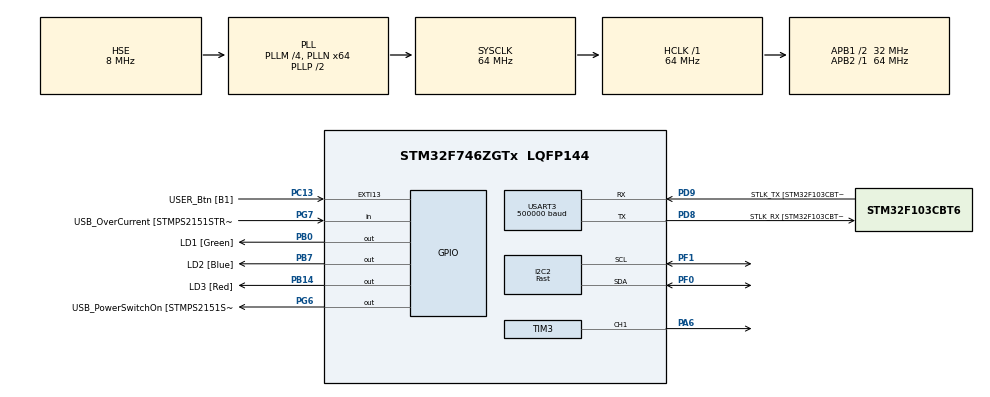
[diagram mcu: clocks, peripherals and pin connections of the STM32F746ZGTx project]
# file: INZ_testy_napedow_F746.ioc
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I2C2.I2C_Speed_Mode=I2C_Fast
I2C2.Timing=0x00300F38
Mcu.Family=STM32F7
Mcu.Name=STM32F746ZGTx
Mcu.Package=LQFP144
NVIC.PriorityGroup=NVIC_PRIORITYGROUP_4
NVIC.TIM2_IRQn=true\:0\:0\:false\:false\:true\:true\:true\:true
NVIC.USART3_IRQn=true\:0\:0\:false\:false\:true\:true\:true\:true
PA1.GPIO_Label=RMII_REF_CLK [LAN8742A-CZ-TR_REFCLK0]
PA1.Signal=ETH_REF_CLK
PA10.GPIO_Label=USB_ID
PA10.Signal=USB_OTG_FS_ID
PA11.GPIO_Label=USB_DM
PA11.Signal=USB_OTG_FS_DM
PA12.GPIO_Label=USB_DP
PA12.Signal=USB_OTG_FS_DP
PA13.GPIO_Label=TMS
PA13.Mode=Serial_Wire
PA13.Signal=SYS_JTMS-SWDIO
PA14.GPIO_Label=TCK
PA14.Mode=Serial_Wire
PA14.Signal=SYS_JTCK-SWCLK
PA2.GPIO_Label=RMII_MDIO [LAN8742A-CZ-TR_MDIO]
PA2.Signal=ETH_MDIO
PA6.Signal=S_TIM3_CH1
PA7.GPIO_Label=RMII_CRS_DV [LAN8742A-CZ-TR_CRS_DV]
PA7.Signal=ETH_CRS_DV
PA8.GPIO_Label=USB_SOF [TP1]
PA8.Signal=USB_OTG_FS_SOF
PA9.GPIO_Label=USB_VBUS
PA9.Signal=USB_OTG_FS_VBUS
PB0.GPIO_Label=LD1 [Green]
PB0.Signal=GPIO_Output
PB13.GPIO_Label=RMII_TXD1 [LAN8742A-CZ-TR_TXD1]
PB13.Signal=ETH_TXD1
PB14.GPIO_Label=LD3 [Red]
PB14.Signal=GPIO_Output
PB3.GPIO_Label=SW0
PB3.Signal=SYS_JTDO-SWO
PB7.GPIO_Label=LD2 [Blue]
PB7.Signal=GPIO_Output
PC1.GPIO_Label=RMII_MDC [LAN8742A-CZ-TR_MDC]
PC1.Signal=ETH_MDC
PC13.GPIO_Label=USER_Btn [B1]
PC13.Signal=GPXTI13
PC14/OSC32_IN.Mode=LSE-External-Oscillator
PC14/OSC32_IN.Signal=RCC_OSC32_IN
PC15/OSC32_OUT.Mode=LSE-External-Oscillator
PC15/OSC32_OUT.Signal=RCC_OSC32_OUT
PC4.GPIO_Label=RMII_RXD0 [LAN8742A-CZ-TR_RXD0]
PC4.Signal=ETH_RXD0
PC5.GPIO_Label=RMII_RXD1 [LAN8742A-CZ-TR_RXD1]
PC5.Signal=ETH_RXD1
PD8.GPIO_Label=STLK_RX [STM32F103CBT6_PA3]
PD8.GPIO_PuPd=GPIO_PULLUP
PD8.Mode=Asynchronous
PD8.Signal=USART3_TX
PD9.GPIO_Label=STLK_TX [STM32F103CBT6_PA2]
PD9.GPIO_PuPd=GPIO_PULLUP
PD9.Mode=Asynchronous
PD9.Signal=USART3_RX
PF0.Mode=I2C
PF0.Signal=I2C2_SDA
PF1.Mode=I2C
PF1.Signal=I2C2_SCL
PG11.GPIO_Label=RMII_TX_EN [LAN8742A-CZ-TR_TXEN]
PG11.Signal=ETH_TX_EN
PG13.GPIO_Label=RMII_TXD0 [LAN8742A-CZ-TR_TXD0]
PG13.Signal=ETH_TXD0
PG6.GPIO_Label=USB_PowerSwitchOn [STMPS2151STR_EN]
PG6.Signal=GPIO_Output
PG7.GPIO_Label=USB_OverCurrent [STMPS2151STR_FAULT]
PG7.Signal=GPIO_Input
PH0/OSC_IN.GPIO_Label=MCO [STM32F103CBT6_PA8]
PH0/OSC_IN.Mode=HSE-External-Clock-Source
PH0/OSC_IN.Signal=RCC_OSC_IN
PH1/OSC_OUT.Mode=HSE-External-Clock-Source
PH1/OSC_OUT.Signal=RCC_OSC_OUT
ProjectManager.HeapSize=0x200
ProjectManager.StackSize=0x400
ProjectManager.TargetToolchain=STM32CubeIDE
RCC.48MHZClocksFreq_Value=24000000
RCC.AHBFreq_Value=64000000
RCC.APB1CLKDivider=RCC_HCLK_DIV2
RCC.APB1Freq_Value=32000000
RCC.APB1TimFreq_Value=64000000
RCC.APB2Freq_Value=64000000
RCC.APB2TimFreq_Value=64000000
RCC.CortexFreq_Value=64000000
RCC.HCLKFreq_Value=64000000
RCC.HSE_VALUE=8000000
RCC.HSI_VALUE=16000000
RCC.PLLM=4
RCC.PLLMUL=RCC_PLL_MUL9
RCC.PLLN=64
RCC.PLLQ=3
RCC.PLLSourceVirtual=RCC_PLLSOURCE_HSE
RCC.PRESCALERUSB=RCC_USBCLKSOURCE_PLL_DIV1_5
RCC.SYSCLKFreq_VALUE=64000000
RCC.SYSCLKSource=RCC_SYSCLKSOURCE_PLLCLK
RCC.SYSCLKSourceVirtual=RCC_SYSCLKSOURCE_PLLCLK
RCC.USBFreq_Value=42666666.666666664
RCC.VCOOutputFreq_Value=128000000
SH.S_TIM3_CH1.0=TIM3_CH1,PWM Generation1 CH1
TIM2.AutoReloadPreload=TIM_AUTORELOAD_PRELOAD_ENABLE
TIM2.Period=49
TIM2.Prescaler=7199
TIM3.AutoReloadPreload=TIM_AUTORELOAD_PRELOAD_ENABLE
TIM3.Channel-PWM\ Generation1\ CH1=TIM_CHANNEL_1
TIM3.Period=254
TIM3.Prescaler=11
USART3.BaudRate=500000
USART3.VirtualMode-Asynchronous=VM_ASYNC
VP_TIM2_VS_ClockSourceINT.Mode=Internal
VP_TIM3_VS_ClockSourceINT.Mode=Internal
board=NUCLEO-F746ZG

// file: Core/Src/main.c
/* USER CODE BEGIN Header */
/**
  ******************************************************************************
  * @file           : main.c
  * @brief          : Main program body
  ******************************************************************************
  * @attention
  *
  * Copyright (c) 2025 STMicroelectronics.
  * All rights reserved.
  *
  * This software is licensed under terms that can be found in the LICENSE file
  * in the root directory of this software component.
  * If no LICENSE file comes with this software, it is provided AS-IS.
  *
  ******************************************************************************
  */
/* USER CODE END Header */
#include "main.h"
#include "i2c.h"
#include "tim.h"
#include "usart.h"
#include "gpio.h"

/* USER CODE BEGIN Includes */

#include "AS5600.h"
#include "Butterworth_II_tustin.h"

#include "mpu6050.h" // tylko na potrzeby ramki komunikacyjnej

/* USER CODE END Includes */

/* USER CODE BEGIN PD */

#define _18B_ANGLE_SCALLING_FACTOR 45.50556f // +/-180deg -> 0 - 16383
#define _18B_MOTOR_SCALLING_FACTOR 182.03333f // 0 - 90Hz -> 0 - 16383
#define _18B_ACCEL_SCALLING_FACTOR 2047.75f // +/- 8G -> 0 - 16383
#define _18B_OFFSET 8192
#define _JOYSTICK_SCALLING_FACTOR 0.9961f // 0 - 255 -> 0 - 254
#define _ROUNDING_CORRECTION 0.5f

void coding18b(MPU6050_t sensorStruct, uint8_t buttonsA,
		uint8_t buttonsB, float motorL, float motorR, uint8_t joystickX,
		uint8_t joystickY, uint8_t output[18]) {
	uint16_t uangleX;
	uint16_t uangleY;
	uint16_t umotorL;
	uint16_t umotorR;
	uint16_t uaccelX;
	uint16_t uaccelY;
	uint16_t uaccelZ;
	uint8_t ujoystickX;
	uint8_t ujoystickY;

	uangleX = (uint16_t)((sensorStruct.KalmanAngleX * _18B_ANGLE_SCALLING_FACTOR) + _18B_OFFSET + _ROUNDING_CORRECTION);
	if (uangleX > 16383) uangleX = 16383;
	uangleY = (uint16_t)((sensorStruct.KalmanAngleY * _18B_ANGLE_SCALLING_FACTOR) + _18B_OFFSET + _ROUNDING_CORRECTION);
	if (uangleY > 16383) uangleY = 16383;

	umotorL = (uint16_t)((motorL * _18B_MOTOR_SCALLING_FACTOR) + _ROUNDING_CORRECTION);
	if (umotorL > 16383) umotorL = 16383;
	umotorR = (uint16_t)((motorR * _18B_MOTOR_SCALLING_FACTOR) + _ROUNDING_CORRECTION);
	if (umotorR > 16383) umotorR = 16383;

	uaccelX = (uint16_t)((sensorStruct.Ax * _18B_ACCEL_SCALLING_FACTOR) + _18B_OFFSET + _ROUNDING_CORRECTION);
	if (uaccelX > 16383) uaccelX = 16383;
	uaccelY = (uint16_t)((sensorStruct.Ay * _18B_ACCEL_SCALLING_FACTOR) + _18B_OFFSET + _ROUNDING_CORRECTION);
	if (uaccelY > 16383) uaccelY = 16383;
	uaccelZ = (uint16_t)((sensorStruct.Az * _18B_ACCEL_SCALLING_FACTOR) + _18B_OFFSET + _ROUNDING_CORRECTION);
	if (uaccelZ > 16383) uaccelZ = 16383;

	ujoystickX = (uint8_t)(joystickX * _JOYSTICK_SCALLING_FACTOR);
	if (ujoystickX > 254) ujoystickX = 254;
	ujoystickY = (uint8_t)(joystickY * _JOYSTICK_SCALLING_FACTOR);
	if (ujoystickY > 254) ujoystickY = 254;

	output[0] = (uangleX >> 6) & 0b11111110;
	output[1] = uangleX & 0b01111111;
	output[2] = (uangleY >> 6) & 0b11111110;
	output[3] = uangleY & 0b01111111;
	output[4] = (umotorL >> 6) & 0b11111110;
	output[5] = umotorL & 0b01111111;
	output[6] = (umotorR >> 6) & 0b11111110;
	output[7] = umotorR & 0b01111111;
	output[8] = buttonsA & 0b11111011;
	output[9] = (buttonsB & 0b01111011) | (buttonsA & 0b100);
	output[10] = (uaccelX >> 6) & 0b11111110;
	output[11] = uaccelX & 0b01111111;
	output[12] = (uaccelY >> 6) & 0b11111110;
	output[13] = uaccelY & 0b01111111;
	output[14] = (uaccelZ >> 6) & 0b11111110;
	output[15] = uaccelZ & 0b01111111;
	output[16] = ujoystickX;
	output[17] = ujoystickY;
}

/* USER CODE END PD */

/* USER CODE BEGIN PV */

MPU6050_t MPU6050; // tylko na potrzeby ramki komunikacyjnej

typedef enum {
	STOP, // oczekiwanie na komunikat z komputera
	WORK
} USER_FLAG_state; // konkretny stan całej maszyny

typedef enum {
	FREE, // pomiar wolny, timer może go aktywować
	PROCESSING // pomiar w toku (aktywacja timera nic nie da)
} USER_FLAG_measurement; // flaga na potrzebę pomiaru

uint8_t input; // Bajt wejsciowy. Komunikacja z komputerem.
uint8_t inputsTab[3] = {0};
uint8_t inputNumber = 0;

receivedData USER_receivedDataStruct; // RAMKA DO ODBIERANIA DANYCH Z KOMPUTERA

AS5600_t AS5600;
Butterwoth_II_tustin_t Butterworth_II_tustin;
Butterwoth_II_tustin_t Butterworth_II_tustin2;

float speedForFilter1; // input na filtry
float speedForFilter2;

float speedFromFilter1;	// output z filtrów
float speedFromFilter2;

// zmienne potrzebne do ramki komunikacyjnej
float motorR;
float angleX;
float angleY;
float accelX;
float accelY;
float accelZ;
uint8_t buttonsA;
uint8_t buttonsB;
uint8_t joystickX;
uint8_t joystickY;
uint8_t outputTab[18];

uint8_t endByte = 0b11111111;
uint8_t exampleByte = 0b00000001;

USER_FLAG_measurement USER_FLAG_measurementVar;
USER_FLAG_state USER_FLAG_stateVar;

/* USER CODE END PV */

void SystemClock_Config(void);

/* USER CODE BEGIN 0 */

void setVibratingMotors() {
	if (USER_receivedDataStruct.mode > 0) {
		if (USER_receivedDataStruct.leftMotor > 0) {
			__HAL_TIM_SET_COMPARE(&htim3, TIM_CHANNEL_1, USER_receivedDataStruct.leftMotor);
			HAL_TIM_PWM_Start(&htim3, TIM_CHANNEL_1);
		}
		else {
			HAL_TIM_PWM_Stop(&htim3, TIM_CHANNEL_1);
		}
	}
	else {
		HAL_TIM_PWM_Stop(&htim3, TIM_CHANNEL_1);
	}
}

/* USER CODE END 0 */

int main(void)
{

  /* MCU Configuration--------------------------------------------------------*/

  /* Reset of all peripherals, Initializes the Flash interface and the Systick. */
  HAL_Init();

  /* Configure the system clock */
  SystemClock_Config();

  /* Initialize all configured peripherals */
  MX_GPIO_Init();
  MX_USART3_UART_Init();
  MX_TIM3_Init();
  MX_TIM2_Init();
  MX_I2C2_Init();
  /* USER CODE BEGIN 2 */

  AS5600_Init(&hi2c2, &AS5600);

  Butterworth_II_tustin_Init(&Butterworth_II_tustin, 14, 5);
  Butterworth_II_tustin_Init(&Butterworth_II_tustin2, 30, 5);

  HAL_UART_Receive_IT(&huart3, &input, 1);

  USER_FLAG_stateVar = STOP;
  USER_FLAG_measurementVar = FREE;

  // ************************************ DEBUUUUUG ***************************************
//  USER_FLAG_stateVar = WORK; // ODPALAAAAAM POMIAAAAR
//  HAL_TIM_Base_Start_IT(&htim2);
//
//  inputsTab[0] = 1;
//  inputsTab[1] = 0;
//  inputsTab[2] = 61;
//  USER_receivedDataStruct.mode = inputsTab[0];
//  USER_receivedDataStruct.leftMotor = inputsTab[1];
//  USER_receivedDataStruct.rightMotor = inputsTab[2];
//  setVibratingMotors();

  /* USER CODE END 2 */

  /* Infinite loop */
  while (1)
  {

    /* USER CODE BEGIN 3 */

	  if (USER_FLAG_stateVar == WORK && USER_FLAG_measurementVar == PROCESSING) { // pojedynczy pomiar

		  // pomiar

		  AS5600_ReadAngle(&hi2c2, &AS5600);
	  	  AS5600_UpdateTurns(&AS5600);
	  	  AS5600_CalculateSpeed(&hi2c2, &AS5600);

	  	  // filtracja

	  	  speedForFilter1 = AS5600.speed;

	  	  // FILTROWANIE -> ODKOMENTOWAC
//	  	  Butterworth_II_tustin_Update(&Butterworth_II_tustin, speedForFilter1);
//	  	  speedFromFilter1 = Butterworth_II_tustin.y;

	  	  // BEZ FILTRACJI -> ODKOMENTOWAC
	  	  speedFromFilter1 = AS5600.speed;

	  	  motorR = 0;
		  buttonsA = 0;
		  buttonsB = 0;
		  joystickX = 0;
		  joystickY = 0;
		  angleX = 0;
		  angleY = 0;
		  accelX = 0;
		  accelY = 0;
		  accelZ = 0;
		  coding18b(MPU6050, buttonsA, buttonsB, speedFromFilter1, motorR, joystickX, joystickY, outputTab);

		  HAL_UART_Transmit(&huart3, outputTab, 18, 2);
	  	  HAL_UART_Transmit(&huart3, &endByte, 1, 1);

	  	  HAL_GPIO_WritePin(LD3_GPIO_Port, LD3_Pin, SET);

	  	  USER_FLAG_measurementVar = FREE; // Kasowanie flagi
	  }
  }
  /* USER CODE END 3 */
}

void SystemClock_Config(void)
{
  RCC_OscInitTypeDef RCC_OscInitStruct = {0};
  RCC_ClkInitTypeDef RCC_ClkInitStruct = {0};

  /** Configure LSE Drive Capability
  */
  HAL_PWR_EnableBkUpAccess();

  /** Configure the main internal regulator output voltage
  */
  __HAL_RCC_PWR_CLK_ENABLE();
  __HAL_PWR_VOLTAGESCALING_CONFIG(PWR_REGULATOR_VOLTAGE_SCALE3);

  /** Initializes the RCC Oscillators according to the specified parameters
  * in the RCC_OscInitTypeDef structure.
  */
  RCC_OscInitStruct.OscillatorType = RCC_OSCILLATORTYPE_HSE;
  RCC_OscInitStruct.HSEState = RCC_HSE_BYPASS;
  RCC_OscInitStruct.PLL.PLLState = RCC_PLL_ON;
  RCC_OscInitStruct.PLL.PLLSource = RCC_PLLSOURCE_HSE;
  RCC_OscInitStruct.PLL.PLLM = 4;
  RCC_OscInitStruct.PLL.PLLN = 64;
  RCC_OscInitStruct.PLL.PLLP = RCC_PLLP_DIV2;
  RCC_OscInitStruct.PLL.PLLQ = 3;
  if (HAL_RCC_OscConfig(&RCC_OscInitStruct) != HAL_OK)
  {
    Error_Handler();
  }

  /** Initializes the CPU, AHB and APB buses clocks
  */
  RCC_ClkInitStruct.ClockType = RCC_CLOCKTYPE_HCLK|RCC_CLOCKTYPE_SYSCLK
                              |RCC_CLOCKTYPE_PCLK1|RCC_CLOCKTYPE_PCLK2;
  RCC_ClkInitStruct.SYSCLKSource = RCC_SYSCLKSOURCE_PLLCLK;
  RCC_ClkInitStruct.AHBCLKDivider = RCC_SYSCLK_DIV1;
  RCC_ClkInitStruct.APB1CLKDivider = RCC_HCLK_DIV2;
  RCC_ClkInitStruct.APB2CLKDivider = RCC_HCLK_DIV1;

  if (HAL_RCC_ClockConfig(&RCC_ClkInitStruct, FLASH_LATENCY_2) != HAL_OK)
  {
    Error_Handler();
  }
}

/* USER CODE BEGIN 4 */

void HAL_UART_RxCpltCallback(UART_HandleTypeDef *huart)	// ODBIERANIE RAMKI DANYCH
{
	if (input != 0b11111111 && inputNumber <= 2) {
		inputsTab[inputNumber] = input;
		inputNumber++;
	}
	else {
		if (input == 0b11111111 && inputNumber == 3) {
			for (uint8_t i = 0; i <= 2; i++) {
				if (inputsTab[i] != 0b11111111 && i == 2) {
					// POPRAWNY KOMUNIKAT ODEBRANY! DALSZE AKCJE >>>

					if(inputsTab[0] <= 2) {
						USER_FLAG_stateVar = WORK; // ODPALAAAAAM POMIAAAAR
						HAL_TIM_Base_Start_IT(&htim2);

						USER_receivedDataStruct.mode = inputsTab[0];
						USER_receivedDataStruct.leftMotor = inputsTab[1];
						USER_receivedDataStruct.rightMotor = inputsTab[2];
						//manageSystem();
						setVibratingMotors();
					}
					else break;
				}
			}
			inputNumber = 0;
		}
		else {
			inputNumber = 0;
		}
	}
	HAL_UART_Receive_IT(&huart3, &input, 1);
}

void HAL_TIM_PeriodElapsedCallback(TIM_HandleTypeDef *htim)
{
	if (htim->Instance == TIM2) {
			USER_FLAG_measurementVar = PROCESSING; // start pojedynczego pomiaru AS5600
	}

}

/* USER CODE END 4 */

void Error_Handler(void)
{
  __disable_irq();
  while (1)
  {
  }
}
